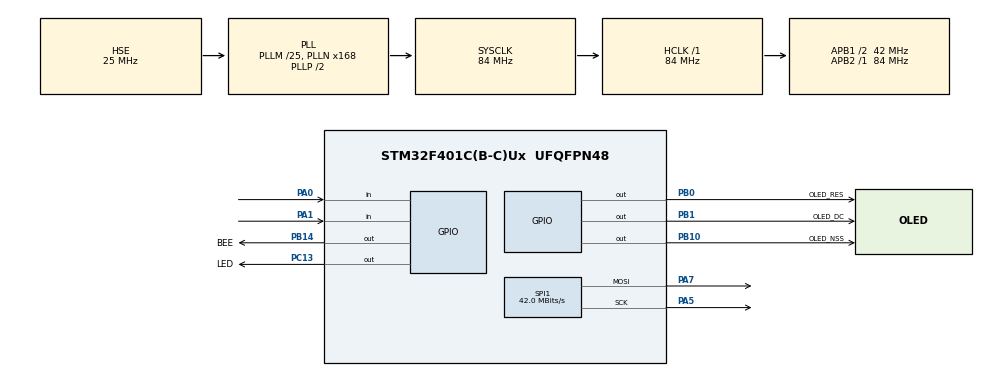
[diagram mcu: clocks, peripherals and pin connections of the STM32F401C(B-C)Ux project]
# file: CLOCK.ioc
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Mcu.Family=STM32F4
Mcu.Name=STM32F401C(B-C)Ux
Mcu.Package=UFQFPN48
NVIC.PriorityGroup=NVIC_PRIORITYGROUP_4
NVIC.RTC_WKUP_IRQn=true\:0\:0\:true\:false\:true\:true\:true\:true
NVIC.TIM1_TRG_COM_TIM11_IRQn=true\:3\:0\:true\:false\:true\:true\:true\:true
NVIC.TIM1_UP_TIM10_IRQn=true\:2\:0\:true\:false\:true\:true\:true\:true
PA0-WKUP.GPIO_PuPd=GPIO_PULLUP
PA0-WKUP.Signal=GPIO_Input
PA1.GPIO_PuPd=GPIO_PULLUP
PA1.Signal=GPIO_Input
PA13.Mode=Trace_Asynchronous_SW
PA13.Signal=SYS_JTMS-SWDIO
PA14.Mode=Trace_Asynchronous_SW
PA14.Signal=SYS_JTCK-SWCLK
PA5.Mode=TX_Only_Simplex_Unidirect_Master
PA5.Signal=SPI1_SCK
PA7.Mode=TX_Only_Simplex_Unidirect_Master
PA7.Signal=SPI1_MOSI
PB0.GPIO_Label=OLED_RES
PB0.Signal=GPIO_Output
PB1.GPIO_Label=OLED_DC
PB1.PinState=GPIO_PIN_SET
PB1.Signal=GPIO_Output
PB10.GPIO_Label=OLED_NSS
PB10.Signal=GPIO_Output
PB14.GPIO_Label=BEE
PB14.Signal=GPIO_Output
PB3.Mode=Trace_Asynchronous_SW
PB3.Signal=SYS_JTDO-SWO
PC13-ANTI_TAMP.GPIO_Label=LED
PC13-ANTI_TAMP.GPIO_PuPd=GPIO_PULLUP
PC13-ANTI_TAMP.PinState=GPIO_PIN_SET
PC13-ANTI_TAMP.Signal=GPIO_Output
PC14-OSC32_IN.Mode=LSE-External-Oscillator
PC14-OSC32_IN.Signal=RCC_OSC32_IN
PC15-OSC32_OUT.Mode=LSE-External-Oscillator
PC15-OSC32_OUT.Signal=RCC_OSC32_OUT
PH0\ -\ OSC_IN.Mode=HSE-External-Oscillator
PH0\ -\ OSC_IN.Signal=RCC_OSC_IN
PH1\ -\ OSC_OUT.Mode=HSE-External-Oscillator
PH1\ -\ OSC_OUT.Signal=RCC_OSC_OUT
ProjectManager.HeapSize=0x200
ProjectManager.StackSize=0x400
ProjectManager.TargetToolchain=MDK-ARM V5.32
RCC.48MHZClocksFreq_Value=42000000
RCC.AHBFreq_Value=84000000
RCC.APB1CLKDivider=RCC_HCLK_DIV2
RCC.APB1Freq_Value=42000000
RCC.APB1TimFreq_Value=84000000
RCC.APB2Freq_Value=84000000
RCC.APB2TimFreq_Value=84000000
RCC.CortexFreq_Value=84000000
RCC.HCLKFreq_Value=84000000
RCC.HSE_VALUE=25000000
RCC.HSI_VALUE=16000000
RCC.PLLM=25
RCC.PLLN=168
RCC.PLLSourceVirtual=RCC_PLLSOURCE_HSE
RCC.SYSCLKFreq_VALUE=84000000
RCC.SYSCLKSource=RCC_SYSCLKSOURCE_PLLCLK
RCC.VCOOutputFreq_Value=168000000
RTC.Alarm=RTC_ALARM_A
RTC.AlarmMaskDateWeekDay=RTC_ALARMMASK_DATEWEEKDAY
RTC.AlarmMaskSeconds=RTC_ALARMMASK_SECONDS
RTC.Date=14
RTC.Hours_A=0
RTC.Minutes_A=10
RTC.Month=RTC_MONTH_SEPTEMBER
RTC.WakeUpClock=RTC_WAKEUPCLOCK_RTCCLK_DIV8
RTC.WakeUpCounter=1023
RTC.WeekDay=RTC_WEEKDAY_WEDNESDAY
RTC.Year=22
SPI1.CalculateBaudRate=42.0 MBits/s
SPI1.Direction=SPI_DIRECTION_2LINES
SPI1.Mode=SPI_MODE_MASTER
SPI1.VirtualType=VM_MASTER
TIM10.AutoReloadPreload=TIM_AUTORELOAD_PRELOAD_ENABLE
TIM10.Period=10000-1
TIM10.Prescaler=8400-1
TIM11.AutoReloadPreload=TIM_AUTORELOAD_PRELOAD_ENABLE
TIM11.Period=2000-1
TIM11.Prescaler=8400-1
VP_RTC_VS_RTC_Activate.Mode=RTC_Enabled
VP_RTC_VS_RTC_Alarm_A_Intern.Mode=Alarm A
VP_RTC_VS_RTC_Calendar.Mode=RTC_Calendar
VP_RTC_VS_RTC_WakeUp_intern.Mode=WakeUp
VP_TIM10_VS_ClockSourceINT.Mode=Enable_Timer
VP_TIM11_VS_ClockSourceINT.Mode=Enable_Timer
board=custom

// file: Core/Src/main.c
/* USER CODE BEGIN Header */
/**
  ******************************************************************************
  * @file           : main.c
  * @brief          : Main program body
  ******************************************************************************
  * @attention
  *
  * Copyright (c) 2022 STMicroelectronics.
  * All rights reserved.
  *
  * This software is licensed under terms that can be found in the LICENSE file
  * in the root directory of this software component.
  * If no LICENSE file comes with this software, it is provided AS-IS.
  *
  ******************************************************************************
  */
/* USER CODE END Header */
#include "main.h"
#include "rtc.h"
#include "spi.h"
#include "tim.h"
#include "gpio.h"

/* USER CODE BEGIN Includes */
#include "string.h"
#include "stdlib.h"
#include "stdio.h"
/* USER CODE END Includes */

/* USER CODE BEGIN PV */
	u8g2_t u8g2;
	RTC_TimeTypeDef rtcTD;
	RTC_DateTypeDef rtcDD;
	RTC_AlarmTypeDef rtcAD;

	RTC_TimeTypeDef PrivatertcTD;
	RTC_DateTypeDef PrivatertcDD;
	RTC_AlarmTypeDef PrivatertcAD;

	uint8_t GlobalStatus;
	uint8_t GlobalAlarmStatus;
	uint8_t ConfigStatus[2]={0};

	///0 display 1 alarm 2 config
/* USER CODE END PV */

void SystemClock_Config(void);

/* USER CODE BEGIN 0 */
void Init()
{
	PrivatertcTD.Hours = 0x0;
  PrivatertcTD.Minutes = 0x0;
  PrivatertcTD.Seconds = 0x0;
  PrivatertcTD.DayLightSaving = RTC_DAYLIGHTSAVING_NONE;
  PrivatertcTD.StoreOperation = RTC_STOREOPERATION_RESET;

	rtcDD.WeekDay = RTC_WEEKDAY_WEDNESDAY;
  rtcDD.Month = RTC_MONTH_SEPTEMBER;
  rtcDD.Date = 0x14;
  rtcDD.Year = 0x22;

	PrivatertcAD.AlarmTime.Hours = 0x0;
  PrivatertcAD.AlarmTime.Minutes = 0x10;
  PrivatertcAD.AlarmTime.Seconds = 0x0;
  PrivatertcAD.AlarmTime.SubSeconds = 0x0;
  PrivatertcAD.AlarmTime.DayLightSaving = RTC_DAYLIGHTSAVING_NONE;
  PrivatertcAD.AlarmTime.StoreOperation = RTC_STOREOPERATION_RESET;
  PrivatertcAD.AlarmMask = RTC_ALARMMASK_DATEWEEKDAY|RTC_ALARMMASK_SECONDS;
  PrivatertcAD.AlarmSubSecondMask = RTC_ALARMSUBSECONDMASK_ALL;
  PrivatertcAD.AlarmDateWeekDaySel = RTC_ALARMDATEWEEKDAYSEL_DATE;
  PrivatertcAD.AlarmDateWeekDay = 0x1;
  PrivatertcAD.Alarm = RTC_ALARM_A;

}

uint8_t u8x8_stm32_gpio_and_delay(U8X8_UNUSED u8x8_t *u8x8,
    U8X8_UNUSED uint8_t msg, U8X8_UNUSED uint8_t arg_int,
    U8X8_UNUSED void *arg_ptr)
{
  switch (msg)
  {
  case U8X8_MSG_GPIO_AND_DELAY_INIT:
    HAL_Delay(1);
    break;
  case U8X8_MSG_DELAY_MILLI:
    HAL_Delay(arg_int);
    break;
  case U8X8_MSG_GPIO_DC:
    HAL_GPIO_WritePin(OLED_DC_GPIO_Port, OLED_DC_Pin, arg_int);
    break;
  case U8X8_MSG_GPIO_RESET:
    HAL_GPIO_WritePin(OLED_RES_GPIO_Port, OLED_RES_Pin, arg_int);    break;
  }
  return 1;
}

uint8_t u8x8_byte_4wire_hw_spi(u8x8_t *u8x8, uint8_t msg, uint8_t arg_int,
    void *arg_ptr)
{
  switch (msg)
  {
  case U8X8_MSG_BYTE_SEND:
    HAL_SPI_Transmit(&hspi1, (uint8_t *) arg_ptr, arg_int, HAL_MAX_DELAY);
    break;
  case U8X8_MSG_BYTE_INIT:
    break;
  case U8X8_MSG_BYTE_SET_DC:
    HAL_GPIO_WritePin(OLED_DC_GPIO_Port, OLED_DC_Pin, arg_int);
    break;
  case U8X8_MSG_BYTE_START_TRANSFER:
		HAL_GPIO_WritePin(OLED_NSS_GPIO_Port, OLED_NSS_Pin, GPIO_PIN_RESET);
    break;
  case U8X8_MSG_BYTE_END_TRANSFER:
		HAL_GPIO_WritePin(OLED_NSS_GPIO_Port, OLED_NSS_Pin, GPIO_PIN_SET);
    break;
  default:
    return 0;
  }
  return 1;
}

///bcd2dec
int decimal_bcd_code(int decimal)
{
    return (decimal - (decimal>>4) * 6);
}

///dec2bcd
int bcd_decimal_code( int bcd)
{
    return (bcd + (bcd/10) * 6);
}

void ConfigAlarm(uint8_t CS)
{
	switch(CS)
	{
	case 1:
		if(decimal_bcd_code(PrivatertcAD.AlarmTime.Minutes)==59)
		{
			PrivatertcAD.AlarmTime.Minutes=0;
		}
		else
		{
			int tmp=decimal_bcd_code(PrivatertcAD.AlarmTime.Minutes);
			PrivatertcAD.AlarmTime.Minutes=bcd_decimal_code(++tmp);
		}
		break;
	case 2:
		if(decimal_bcd_code(PrivatertcAD.AlarmTime.Hours)==23)
		{
			PrivatertcAD.AlarmTime.Hours=0;
		}
		else
		{
			int tmp=decimal_bcd_code(PrivatertcAD.AlarmTime.Hours);
			PrivatertcAD.AlarmTime.Hours=bcd_decimal_code(++tmp);
		}
		break;
	default:
		break;
	}
}

void ConfigDate(uint8_t CS)
{
	int month=PrivatertcDD.Month;
	switch(CS)
	{
	case 3:
		if(PrivatertcDD.Month==12)
		{
			PrivatertcDD.Month=1;
		}
		else
		{
			int tmp=PrivatertcDD.Month;
			PrivatertcDD.Month=++tmp;
		}
		break;
	case 4:
		{
			int tnum=0;
			switch(month)
			{
			case 1:
			case 3:
			case 5:
			case 7:
			case 8:
			case 10:
			case 12:
				tnum=31;
				break;
			case 4:
			case 6:
			case 9:
			case 11:
				tnum=30;
			case 2:
				tnum=28;
			}
			if(PrivatertcDD.Date==bcd_decimal_code(tnum))
			{
				PrivatertcDD.Date=1;
			}
			else
			{
				int tmp=decimal_bcd_code(PrivatertcDD.Date);
				PrivatertcDD.Date=bcd_decimal_code(++tmp);
			}
		}
		break;
	default:
		GlobalStatus=0;
		ConfigStatus[1]=0;
		break;
	}
}

void ConfigClock(uint8_t CS)
{
	switch(CS)
	{
	case 1:
		if(decimal_bcd_code(PrivatertcTD.Minutes==60))
		{
			PrivatertcTD.Minutes=0;
		}
		else
		{
			int tmp=decimal_bcd_code(PrivatertcTD.Minutes);
			PrivatertcTD.Minutes=bcd_decimal_code(++tmp);
		}
		break;
	case 2:
		if(decimal_bcd_code(PrivatertcTD.Hours==23))
		{
			PrivatertcTD.Minutes=0;
		}
		else
		{
			int tmp=decimal_bcd_code(PrivatertcTD.Hours);
			PrivatertcTD.Hours=bcd_decimal_code(++tmp);
		}
		break;
	default:
		ConfigDate(CS);
		break;
	}
}

void FuncKey()
{
	switch(GlobalStatus)
	{
	case 0:
		GlobalAlarmStatus=~GlobalAlarmStatus;
		break;
	case 1:
		if(ConfigStatus[0])
		{
			ConfigAlarm(ConfigStatus[0]);
		}
		else
		{
			ConfigStatus[0]=1;
			HAL_RTC_GetAlarm(&hrtc,&PrivatertcAD,RTC_ALARM_A,RTC_FORMAT_BCD);
		}
		break;
	case 2:
		if(ConfigStatus[1]==1||ConfigStatus[1]==2)
		{
			ConfigClock(ConfigStatus[1]);
		}
		else if(ConfigStatus[1]==3||ConfigStatus[1]==4)
		{
			ConfigDate(ConfigStatus[1]);
		}
		else
		{
			ConfigStatus[1]=1;
			HAL_RTC_GetDate(&hrtc,&PrivatertcDD,RTC_FORMAT_BCD);
			HAL_RTC_GetTime(&hrtc,&PrivatertcTD,RTC_FORMAT_BCD);
		}
		break;
	default:
		GlobalStatus=0;
		break;
	}
}

void ModeKey()
{
	if(GlobalStatus==2)
	{
		if(ConfigStatus[1])
		{
			switch(ConfigStatus[1])
			{
			case 1:
			case 2:
				ConfigStatus[1]++;

				break;
			case 3:
				ConfigStatus[1]++;
				break;
			case 4:
				ConfigStatus[1]=0;
				GlobalStatus=0;
				HAL_RTC_SetDate(&hrtc,&PrivatertcDD,RTC_FORMAT_BCD);
				PrivatertcTD.Seconds=0x00;
				HAL_RTC_SetTime(&hrtc,&PrivatertcTD,RTC_FORMAT_BCD);
				break;
			default:
				ConfigStatus[1]=0;
				GlobalStatus=0;
				break;
			}
		}
		else
		{
			GlobalStatus=0;
			ConfigStatus[1]=0;
		}
	}
	else if(GlobalStatus==1)
	{
		if(ConfigStatus[0])
		{
			if(ConfigStatus[0]==1)
			{
				ConfigStatus[0]++;
			}
			else if(ConfigStatus[0]==2)
			{
				ConfigStatus[0]=0;
				HAL_RTC_SetAlarm(&hrtc,&PrivatertcAD,RTC_FORMAT_BCD);
				GlobalStatus=0;
			}
		}
		else
		{
			HAL_RTC_SetAlarm(&hrtc,&PrivatertcAD,RTC_FORMAT_BCD);
			GlobalStatus++;
		}
	}
	else
	{
		GlobalStatus++;
	}
}
/* USER CODE END 0 */

int main(void)
{

  /* MCU Configuration--------------------------------------------------------*/

  /* Reset of all peripherals, Initializes the Flash interface and the Systick. */
  HAL_Init();

  /* Configure the system clock */
  SystemClock_Config();

  /* USER CODE BEGIN SysInit */
	//MX_TIM10_Init();
  /* USER CODE END SysInit */

  /* Initialize all configured peripherals */
  MX_GPIO_Init();
  MX_TIM10_Init();
  MX_TIM11_Init();
  MX_SPI1_Init();
  MX_RTC_Init();
  /* USER CODE BEGIN 2 */
	Init();

	u8g2_Setup_ssd1306_128x64_noname_f(&u8g2,U8G2_R0,u8x8_byte_4wire_hw_spi,u8x8_stm32_gpio_and_delay);
	u8g2_InitDisplay(&u8g2);
	u8g2_SetPowerSave(&u8g2,0);

	__HAL_TIM_CLEAR_IT(&htim10,TIM_IT_UPDATE);
	__HAL_TIM_CLEAR_IT(&htim11,TIM_IT_UPDATE);

	HAL_TIM_Base_Start_IT(&htim10);
	HAL_TIM_Base_Start_IT(&htim11);

//	char *aa=malloc(50);
//	memset(aa,0,50);
//	int a[2]={0};
	int flag[3]={0};
  /* USER CODE END 2 */

  /* Infinite loop */
  while (1)
  {

    /* USER CODE BEGIN 3 */

		///mode key
			if(HAL_GPIO_ReadPin(GPIOA,GPIO_PIN_0)==GPIO_PIN_RESET)
			{
				HAL_Delay(50);
				if(HAL_GPIO_ReadPin(GPIOA,GPIO_PIN_0)==GPIO_PIN_RESET)
				{
					flag[0]=1;
				}
			}
			if(flag[0])
			{
				if(HAL_GPIO_ReadPin(GPIOA,GPIO_PIN_0)==GPIO_PIN_SET)
				{
					HAL_Delay(50);
					if(HAL_GPIO_ReadPin(GPIOA,GPIO_PIN_0)==GPIO_PIN_SET)
					{
						flag[0]=0;
						ModeKey();
					}
				}
			}
		///func key
		if(HAL_GPIO_ReadPin(GPIOA,GPIO_PIN_1)==GPIO_PIN_RESET)
		{
			HAL_Delay(50);
			if(HAL_GPIO_ReadPin(GPIOA,GPIO_PIN_1)==GPIO_PIN_RESET)
			{
				flag[1]=1;
			}
		}
		if(flag[1])
		{
			if(HAL_GPIO_ReadPin(GPIOA,GPIO_PIN_1)==GPIO_PIN_SET)
			{
				HAL_Delay(50);
				if(HAL_GPIO_ReadPin(GPIOA,GPIO_PIN_1)==GPIO_PIN_SET)
				{
					flag[1]=0;
					FuncKey();
				}
			}
		}

		///alarm check
  }
  /* USER CODE END 3 */
}

void SystemClock_Config(void)
{
  RCC_OscInitTypeDef RCC_OscInitStruct = {0};
  RCC_ClkInitTypeDef RCC_ClkInitStruct = {0};

  /** Configure the main internal regulator output voltage
  */
  __HAL_RCC_PWR_CLK_ENABLE();
  __HAL_PWR_VOLTAGESCALING_CONFIG(PWR_REGULATOR_VOLTAGE_SCALE2);

  /** Initializes the RCC Oscillators according to the specified parameters
  * in the RCC_OscInitTypeDef structure.
  */
  RCC_OscInitStruct.OscillatorType = RCC_OSCILLATORTYPE_LSI|RCC_OSCILLATORTYPE_HSE;
  RCC_OscInitStruct.HSEState = RCC_HSE_ON;
  RCC_OscInitStruct.LSIState = RCC_LSI_ON;
  RCC_OscInitStruct.PLL.PLLState = RCC_PLL_ON;
  RCC_OscInitStruct.PLL.PLLSource = RCC_PLLSOURCE_HSE;
  RCC_OscInitStruct.PLL.PLLM = 25;
  RCC_OscInitStruct.PLL.PLLN = 168;
  RCC_OscInitStruct.PLL.PLLP = RCC_PLLP_DIV2;
  RCC_OscInitStruct.PLL.PLLQ = 4;
  if (HAL_RCC_OscConfig(&RCC_OscInitStruct) != HAL_OK)
  {
    Error_Handler();
  }

  /** Initializes the CPU, AHB and APB buses clocks
  */
  RCC_ClkInitStruct.ClockType = RCC_CLOCKTYPE_HCLK|RCC_CLOCKTYPE_SYSCLK
                              |RCC_CLOCKTYPE_PCLK1|RCC_CLOCKTYPE_PCLK2;
  RCC_ClkInitStruct.SYSCLKSource = RCC_SYSCLKSOURCE_PLLCLK;
  RCC_ClkInitStruct.AHBCLKDivider = RCC_SYSCLK_DIV1;
  RCC_ClkInitStruct.APB1CLKDivider = RCC_HCLK_DIV2;
  RCC_ClkInitStruct.APB2CLKDivider = RCC_HCLK_DIV1;

  if (HAL_RCC_ClockConfig(&RCC_ClkInitStruct, FLASH_LATENCY_2) != HAL_OK)
  {
    Error_Handler();
  }
}

/* USER CODE BEGIN 4 */
void GeneralDisplay(char *Time,char *Date,char *Alarm)
{
		u8g2_SetFont(&u8g2,u8g2_font_luIS18_tf);

		sprintf(Time,"%d:%d:%d",decimal_bcd_code(rtcTD.Hours),decimal_bcd_code(rtcTD.Minutes),decimal_bcd_code(rtcTD.Seconds));
		u8g2_DrawStr(&u8g2,20,53,Time);

		u8g2_SetFont(&u8g2,u8g2_font_5x7_tf);

		sprintf(Date,"%d/%d",rtcDD.Month,decimal_bcd_code(rtcDD.Date));
		u8g2_DrawStr(&u8g2,10,10,Date);

		if(GlobalAlarmStatus)
			sprintf(Alarm,"%d:%d",decimal_bcd_code(rtcAD.AlarmTime.Hours),decimal_bcd_code(rtcAD.AlarmTime.Minutes));
		else
			sprintf(Alarm,"-:-");

		u8g2_DrawStr(&u8g2,100,20,Alarm);
		u8g2_DrawStr(&u8g2,94,10,"Alarm");

}

//void HAL_RTC_AlarmAEventCallback(RTC_HandleTypeDef *hrtc)
//{

//	u8g2_SetFont(&u8g2,u8g2_font_5x7_tf);
//	u8g2_DrawStr(&u8g2,20,30,"Time UP");
//	u8g2_SendBuffer(&u8g2);
//	GlobalAlarmStatus=~GlobalAlarmStatus;
//	if(GlobalAlarmStatus)
//	{
//		u8g2_DrawStr(&u8g2,20,30,"Time UP");
//		u8g2_SendBuffer(&u8g2);
//		uint32_t time=HAL_GetTick();
//		while(HAL_GetTick()-time<15000)
//		{
//			HAL_GPIO_WritePin(BEE_GPIO_Port,BEE_Pin,GPIO_PIN_RESET);
//			if((HAL_GetTick()-time)%1000==0)
//			{
//				HAL_GPIO_TogglePin(LED_GPIO_Port,LED_Pin);
//			}
//		}
//		HAL_GPIO_WritePin(LED_GPIO_Port,LED_Pin,GPIO_PIN_SET);
//	}
//	else
//	{
//
//	}
//	return;
//}

void HAL_RTCEx_WakeUpTimerEventCallback(RTC_HandleTypeDef *hrtc)
{
	HAL_GPIO_TogglePin(GPIOC,GPIO_PIN_13);

	char Alarm[7]={0};
	char Time[9]={0};
	char Date[6]={0};
	char TestData[20]={0};

	HAL_RTC_GetTime(hrtc,&rtcTD,RTC_FORMAT_BCD);
	HAL_RTC_GetDate(hrtc,&rtcDD,RTC_FORMAT_BCD);
	HAL_RTC_GetAlarm(hrtc,&rtcAD,RTC_ALARM_A,RTC_FORMAT_BCD);

	u8g2_ClearBuffer(&u8g2);

	if(!ConfigStatus[0]&&!ConfigStatus[1])
	{
		if(GlobalAlarmStatus)
		{
			if(rtcTD.Hours==rtcAD.AlarmTime.Hours)
			{
				if(decimal_bcd_code(rtcTD.Minutes)-decimal_bcd_code(rtcAD.AlarmTime.Minutes)<5&&
				decimal_bcd_code(rtcTD.Minutes)-decimal_bcd_code(rtcAD.AlarmTime.Minutes)>=0)
				{
					u8g2_SetFont(&u8g2,u8g2_font_5x7_tf);
					u8g2_DrawStr(&u8g2,20,30,"Time UP");
				}
			}
		}
	}

	if(GlobalStatus==0)
	{
		GeneralDisplay(Time,Date,Alarm);
		u8g2_SendBuffer(&u8g2);
	}
	else if(GlobalStatus==1)
	{
		if(!ConfigStatus[0])
		{
			GeneralDisplay(Time,Date,Alarm);

			u8g2_DrawStr(&u8g2,10,20,"press func key ");
			u8g2_DrawStr(&u8g2,10,30,"to config alarm");

			u8g2_SendBuffer(&u8g2);
		}
		else
		{
			u8g2_ClearBuffer(&u8g2);
			switch(ConfigStatus[0])
			{
			case 1:
				u8g2_SetFont(&u8g2,u8g2_font_5x7_tf);
				u8g2_DrawStr(&u8g2,30,20,"Config Minutes");
				break;
			case 2:
				u8g2_SetFont(&u8g2,u8g2_font_5x7_tf);
				u8g2_DrawStr(&u8g2,30,20,"Config Hours");
			default:
				break;
			}
			u8g2_SetFont(&u8g2,u8g2_font_logisoso28_tn);
			sprintf(Alarm,"%d:%d",decimal_bcd_code(PrivatertcAD.AlarmTime.Hours),decimal_bcd_code(PrivatertcAD.AlarmTime.Minutes));
			u8g2_DrawStr(&u8g2,30,55,Alarm);
			u8g2_SendBuffer(&u8g2);
		}

	}
	else
	{
		if(!ConfigStatus[1])
		{
			GeneralDisplay(Time,Date,Alarm);

			u8g2_DrawStr(&u8g2,10,20,"press func key ");
			u8g2_DrawStr(&u8g2,10,30,"to set clock&date");

			u8g2_SendBuffer(&u8g2);
		}
		else
		{
			u8g2_ClearBuffer(&u8g2);
			switch(ConfigStatus[1])
			{
			case 1:
				u8g2_SetFont(&u8g2,u8g2_font_5x7_tf);
				u8g2_DrawStr(&u8g2,30,20,"Config Minutes");
				u8g2_SetFont(&u8g2,u8g2_font_logisoso28_tn);
				sprintf(Time,"%d:%d",decimal_bcd_code(PrivatertcTD.Hours),decimal_bcd_code(PrivatertcTD.Minutes));
				u8g2_DrawStr(&u8g2,30,55,Time);
				break;
			case 2:
				u8g2_SetFont(&u8g2,u8g2_font_5x7_tf);
				u8g2_DrawStr(&u8g2,30,20,"Config Hours");
				u8g2_SetFont(&u8g2,u8g2_font_logisoso28_tn);
				sprintf(Time,"%d:%d",decimal_bcd_code(PrivatertcTD.Hours),decimal_bcd_code(PrivatertcTD.Minutes));
				u8g2_DrawStr(&u8g2,30,55,Time);
				break;
			case 3:
				u8g2_SetFont(&u8g2,u8g2_font_5x7_tf);
				u8g2_DrawStr(&u8g2,30,20,"Config Month");
				u8g2_SetFont(&u8g2,u8g2_font_logisoso28_tn);
				sprintf(Date,"%d/%d",decimal_bcd_code(PrivatertcDD.Month),decimal_bcd_code(PrivatertcDD.Date));
				u8g2_DrawStr(&u8g2,30,55,Date);
			case 4:
				u8g2_SetFont(&u8g2,u8g2_font_5x7_tf);
				u8g2_DrawStr(&u8g2,30,20,"Config Date");
				u8g2_SetFont(&u8g2,u8g2_font_logisoso28_tn);
				sprintf(Date,"%d/%d",decimal_bcd_code(PrivatertcDD.Month),decimal_bcd_code(PrivatertcDD.Date));
				u8g2_DrawStr(&u8g2,30,55,Date);
			default:
				break;
			}

		}
//		u8g2_SetFont(&u8g2,u8g2_font_5x7_tf);
//		sprintf(TestData,"%d",ConfigStatus[1]);
//		u8g2_DrawStr(&u8g2,30,10,TestData);
		u8g2_SendBuffer(&u8g2);
	}

}

void HAL_TIM_PeriodElapsedCallback(TIM_HandleTypeDef *htim)
{
	if(htim->Instance==TIM10)
	{
		//HAL_GPIO_TogglePin(GPIOC,GPIO_PIN_13);
	}
	if(htim->Instance==TIM11)
	{

	}
}

/* USER CODE END 4 */

void Error_Handler(void)
{
  /* USER CODE BEGIN Error_Handler_Debug */
  /* User can add his own implementation to report the HAL error return state */
  __disable_irq();
  while (1)
  {
		HAL_GPIO_TogglePin(GPIOC,GPIO_PIN_13);
		HAL_Delay(100);
  }
  /* USER CODE END Error_Handler_Debug */
}
